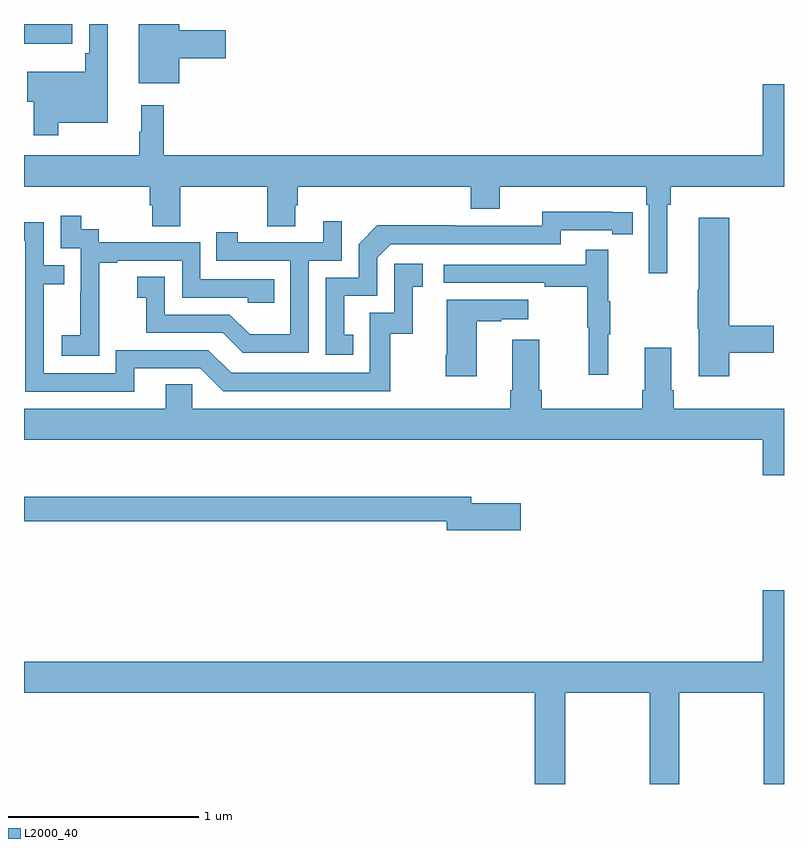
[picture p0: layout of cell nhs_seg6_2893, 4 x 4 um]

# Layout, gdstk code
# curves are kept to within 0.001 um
import gdstk
lib = gdstk.Library(unit=1e-6, precision=1e-09)
def R(c, l, rs):  # rectangles x0, y0, x1, y1
    for r in rs: c.add(gdstk.rectangle(r[:2], r[2:], *l))
def P(c, l, *ps):  # polygons
    for p in ps: c.add(gdstk.Polygon(p, *l))
L2000_40 = (2000, 40)

nhs_seg6_2893 = lib.new_cell('nhs_seg6_2893')
R(nhs_seg6_2893, L2000_40, [(281,973.397,281.254,973.5)])
P(nhs_seg6_2893, L2000_40, [(281.818,973.319),(282.061,973.319),(282.061,973.466),(281.818,973.466),(281.818,973.5),(281.603,973.5),(281.603,973.187),(281.818,973.187)],
  [(281.179,972.98),(281.44,972.98),(281.44,973.5),(281.343,973.5),(281.343,973.345),(281.323,973.345),(281.323,973.249),(281.016,973.249),(281.016,973.091),(281.05,973.091),(281.05,972.915),(281.179,972.915)],
  [(281.735,973.072),(281.618,973.072),(281.618,972.932),(281.607,972.932),(281.607,972.808),(281,972.808),(281,972.644),(281.663,972.644),(281.663,972.546),(281.675,972.546),(281.675,972.436),(281.823,972.436),(281.823,972.644),(282.28,972.644),(282.28,972.436),(282.427,972.436),(282.427,972.546),(282.44,972.546),(282.44,972.644),(283.352,972.644),(283.352,972.527),(283.504,972.527),(283.504,972.644),(284.276,972.644),(284.276,972.548),(284.289,972.548),(284.289,972.189),(284.386,972.189),(284.386,972.548),(284.405,972.548),(284.405,972.644),(285,972.644),(285,973.183),(284.888,973.183),(284.888,972.808),(281.735,972.808)],
  [(282.734,971.865),(282.685,971.865),(282.685,972.069),(282.858,972.069),(282.858,972.27),(282.93,972.342),(283.824,972.342),(283.824,972.414),(284.096,972.414),(284.096,972.394),(284.204,972.394),(284.204,972.51),(283.728,972.511),(283.728,972.438),(283.268,972.438),(283.268,972.44),(282.86,972.44),(282.762,972.342),(282.762,972.165),(282.588,972.165),(282.588,971.76),(282.734,971.76)],
  [(281.397,971.959),(281.396,971.959),(281.396,972.243),(281.491,972.243),(281.491,972.255),(281.832,972.255),(281.832,972.06),(282.177,972.06),(282.177,972.033),(282.317,972.033),(282.317,972.156),(281.928,972.156),(281.928,972.351),(281.394,972.351),(281.394,972.42),(281.302,972.42),(281.302,972.49),(281.193,972.49),(281.193,972.321),(281.298,972.321),(281.298,972.092),(281.297,972.092),(281.297,971.863),(281.199,971.863),(281.199,971.753),(281.397,971.753)],
  [(284.711,971.77),(284.947,971.77),(284.947,971.912),(284.711,971.912),(284.711,972.481),(284.552,972.481),(284.552,972.101),(284.545,972.101),(284.545,971.895),(284.552,971.895),(284.552,971.646),(284.711,971.646)],
  [(282.498,972.255),(282.672,972.255),(282.672,972.463),(282.575,972.463),(282.575,972.351),(282.124,972.351),(282.124,972.403),(282.013,972.403),(282.013,972.255),(282.402,972.255),(282.402,971.866),(282.188,971.866),(282.084,971.97),(281.742,971.97),(281.742,972.169),(281.595,972.169),(281.595,972.059),(281.644,972.059),(281.644,971.874),(282.047,971.874),(282.152,971.769),(282.498,971.769)],
  [(281.581,971.688),(281.928,971.688),(282.048,971.568),(282.928,971.568),(282.928,971.871),(283.046,971.871),(283.046,972.117),(283.099,972.117),(283.099,972.238),(282.948,972.238),(282.948,971.979),(282.819,971.979),(282.819,971.664),(282.09,971.664),(281.97,971.784),(281.484,971.784),(281.484,971.661),(281.103,971.661),(281.103,972.13),(281.213,972.13),(281.213,972.231),(281.103,972.231),(281.103,972.456),(281,972.456),(281,972.36),(281.007,972.36),(281.007,971.565),(281.581,971.565)],
  [(284.075,971.867),(284.086,971.867),(284.086,972.041),(284.075,972.041),(284.075,972.313),(283.957,972.313),(283.957,972.234),(283.209,972.234),(283.209,972.138),(283.741,972.138),(283.741,972.118),(283.965,972.118),(283.965,971.904),(283.972,971.904),(283.972,971.655),(284.075,971.655)],
  [(283.384,971.935),(283.511,971.935),(283.511,971.945),(283.654,971.945),(283.654,972.049),(283.226,972.049),(283.226,971.758),(283.219,971.758),(283.219,971.646),(283.384,971.646)],
  [(285,971.476),(284.42,971.476),(284.42,971.572),(284.407,971.572),(284.407,971.797),(284.267,971.797),(284.267,971.572),(284.255,971.572),(284.255,971.476),(283.724,971.476),(283.724,971.572),(283.711,971.572),(283.711,971.839),(283.571,971.839),(283.571,971.572),(283.559,971.572),(283.559,971.476),(281.886,971.476),(281.886,971.603),(281.747,971.603),(281.747,971.476),(281,971.476),(281,971.312),(284.888,971.312),(284.888,971.124),(285,971.124)],
  [(283.615,970.977),(283.354,970.977),(283.354,971.011),(281,971.011),(281,970.882),(283.226,970.882),(283.226,970.835),(283.615,970.835)],
  [(283.848,969.98),(284.293,969.98),(284.293,969.5),(284.448,969.5),(284.448,969.98),(284.893,969.98),(284.893,969.5),(285,969.5),(285,970.519),(284.888,970.519),(284.888,970.144),(281,970.144),(281,969.98),(283.688,969.98),(283.688,969.5),(283.848,969.5)])

lib.write_gds('nhs_seg6_2893.gds')
